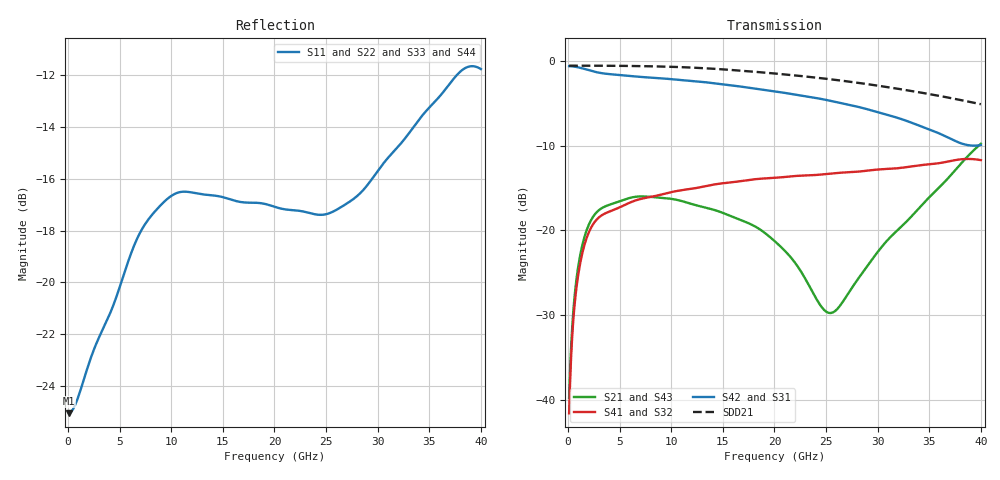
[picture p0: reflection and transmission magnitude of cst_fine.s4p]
! E_s8_L1L8_p1000_oval_g0: pair L1→L8, pitch 1 mm, one oval antipad, 0 GND vias
! stackup: 8-layer 1.6 mm FR-4 (generic)
! ports: 1 P near, 2 N near, 3 P far, 4 N far
! CST Studio Suite 2025.5 Release from 2025-05-30, time domain (FIT, hexahedral, PBA), 344960 mesh cells, 76 s
! mesh: {'lpw': 30.0, 'lpb': 30.0, 'minstep': 0.0, 'ratio': 20}; ports: port 1 (face); port 2 (face); port 3 (face); port 4 (face)
! interpolated from CST's 1001 samples to the case grid
# Hz S RI R 50
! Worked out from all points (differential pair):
!   400 points, 100 MHz to 40 GHz, reference 50 ohm
!   strongest paths, dB at 100 MHz, 10.1 GHz, 20.1 GHz, 30.1 GHz, 40 GHz:
!     S42: -0.6, -2.2, -3.6, -6.1, -9.9
!     S31: -0.6, -2.2, -3.6, -6.1, -9.9
!     S41: -41.6, -15.5, -13.8, -12.8, -11.7
!     S32: -41.6, -15.5, -13.8, -12.8, -11.7
!     S21: -39.8, -16.3, -21.4, -22.4, -9.8
!     S43: -39.8, -16.3, -21.4, -22.4, -9.8
!   taken as a pair (ports 2,1 in; 4,3 out), SDD21 dB: -0.6, -0.7, -1.5, -2.9, -5.1
!   lowest |S11| = -25.0 dB at 100 MHz (marker M1), VSWR 1.12, Z = 44.7 + j0.651 ohm
!   |S11| at or under -10 dB: start of sweep to end of sweep
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1e8  -0.0555 0.00725  0.0084 0.00593  0.9291 -0.0401  -0.00638 -0.00536
     0.0084 0.00593  -0.0555 0.00725  -0.00638 -0.00536  0.9291 -0.0401
     0.9291 -0.0401  -0.00638 -0.00536  -0.0555 0.00725  0.0084 0.00593
     -0.00638 -0.00536  0.9291 -0.0401  0.0084 0.00593  -0.0555 0.00725
3.8e9  0.0712 -0.046  0.112 -0.0842  0.0563 -0.8353  -0.0926 0.0878
       0.112 -0.0842  0.0712 -0.046  -0.0926 0.0878  0.0563 -0.8353
       0.0563 -0.8353  -0.0926 0.0878  0.0712 -0.046  0.112 -0.0842
       -0.0926 0.0878  0.0563 -0.8353  0.112 -0.0842  0.0712 -0.046
7.9e9  -0.1144 -0.0683  -0.104 -0.1186  -0.7926 -0.0826  0.1173 0.1046
       -0.104 -0.1186  -0.1144 -0.0683  0.1173 0.1046  -0.7926 -0.0826
       -0.7926 -0.0826  0.1173 0.1046  -0.1144 -0.0683  -0.104 -0.1186
       0.1173 0.1046  -0.7926 -0.0826  -0.104 -0.1186  -0.1144 -0.0683
1.62e10  0.1433 -0.0102  0.0836 0.0839  0.7073 0.0802  -0.1485 -0.1236
         0.0836 0.0839  0.1433 -0.0102  -0.1485 -0.1236  0.7073 0.0802
         0.7073 0.0802  -0.1485 -0.1236  0.1433 -0.0102  0.0836 0.0839
         -0.1485 -0.1236  0.7073 0.0802  0.0836 0.0839  0.1433 -0.0102
2.42e10  -0.1329 0.0241  -0.0356 -0.0135  -0.5824 -0.1477  0.1556 0.1448
         -0.0356 -0.0135  -0.1329 0.0241  0.1556 0.1448  -0.5824 -0.1477
         -0.5824 -0.1477  0.1556 0.1448  -0.1329 0.0241  -0.0356 -0.0135
         0.1556 0.1448  -0.5824 -0.1477  -0.0356 -0.0135  -0.1329 0.0241
3.25e10  0.1794 -0.056  0.0629 -0.088  0.43 0.1291  -0.192 -0.135
         0.0629 -0.088  0.1794 -0.056  -0.192 -0.1351  0.43 0.1291
         0.43 0.1291  -0.192 -0.1351  0.1794 -0.056  0.0629 -0.088
         -0.192 -0.135  0.43 0.1291  0.0629 -0.088  0.1794 -0.056
4e10  -0.2492 -0.0662  -0.2656 0.1855  -0.1769 -0.265  0.2381 0.1032
      -0.2656 0.1855  -0.2492 -0.0662  0.2381 0.1032  -0.1769 -0.265
      -0.1769 -0.265  0.2381 0.1032  -0.2492 -0.0662  -0.2656 0.1855
      0.2381 0.1032  -0.1769 -0.265  -0.2656 0.1855  -0.2492 -0.0662
